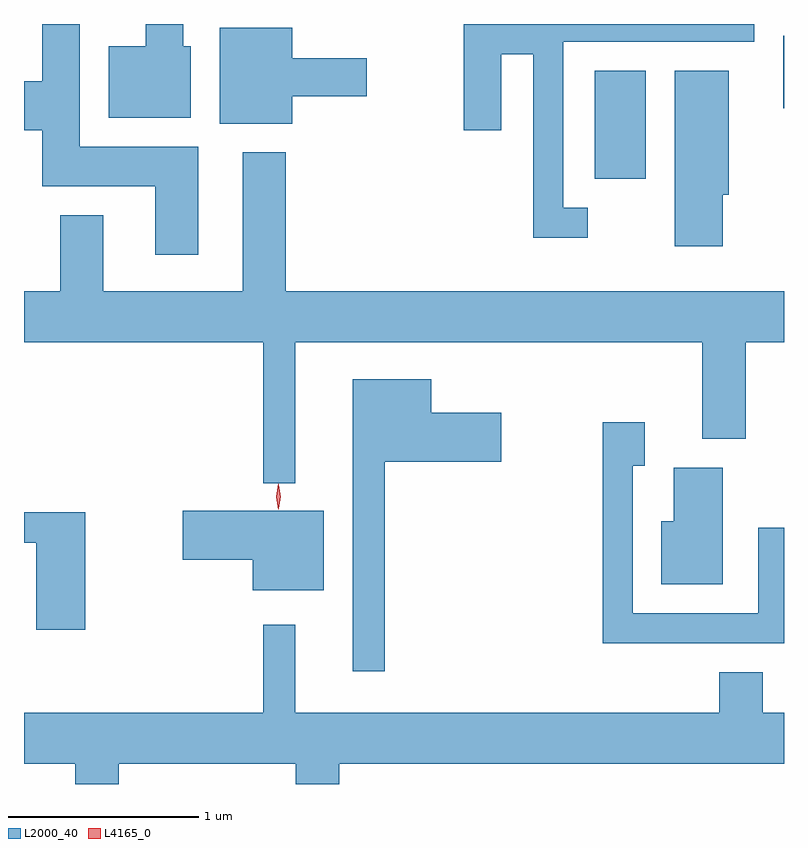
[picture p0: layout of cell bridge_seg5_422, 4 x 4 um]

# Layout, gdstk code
import gdstk
lib = gdstk.Library(unit=1e-6, precision=1e-09)
def R(c, l, rs):  # rectangles x0, y0, x1, y1
    for r in rs: c.add(gdstk.rectangle(r[:2], r[2:], *l))
def P(c, l, *ps):  # polygons
    for p in ps: c.add(gdstk.Polygon(p, *l))
L2000_40 = (2000, 40)
L4165_0 = (4165, 0)

bridge_seg5_422 = lib.new_cell('bridge_seg5_422')
R(bridge_seg5_422, L2000_40, [(310.706,1510.936,310.974,1511.504), (311.696,1511.306,311.701,1511.689)])
P(bridge_seg5_422, L2000_40, [(308.619,1511.104),(307.994,1511.104),(307.994,1511.75),(307.796,1511.75),(307.796,1511.449),(307.701,1511.449),(307.701,1511.191),(307.796,1511.191),(307.796,1510.896),(308.391,1510.896),(308.391,1510.536),(308.619,1510.536)],
  [(310.668,1510.784),(310.539,1510.784),(310.539,1511.656),(311.544,1511.656),(311.544,1511.75),(310.016,1511.75),(310.016,1511.191),(310.214,1511.191),(310.214,1511.591),(310.381,1511.591),(310.381,1510.626),(310.668,1510.626)],
  [(308.579,1511.634),(308.539,1511.634),(308.539,1511.75),(308.341,1511.75),(308.341,1511.634),(308.146,1511.634),(308.146,1511.256),(308.579,1511.256)],
  [(309.114,1511.371),(309.504,1511.371),(309.504,1511.569),(309.114,1511.569),(309.114,1511.729),(308.731,1511.729),(308.731,1511.226),(309.114,1511.226)],
  [(311.379,1510.851),(311.409,1510.851),(311.409,1511.504),(311.126,1511.504),(311.126,1510.581),(311.379,1510.581)],
  [(309.129,1510.076),(311.271,1510.076),(311.271,1509.566),(311.499,1509.566),(311.499,1510.076),(311.701,1510.076),(311.701,1510.344),(309.079,1510.344),(309.079,1511.074),(308.851,1511.074),(308.851,1510.344),(308.119,1510.344),(308.119,1510.744),(307.891,1510.744),(307.891,1510.344),(307.701,1510.344),(307.701,1510.076),(308.961,1510.076),(308.961,1509.333),(309.129,1509.333)],
  [(309.599,1509.446),(310.214,1509.446),(310.214,1509.704),(309.844,1509.704),(309.844,1509.879),(309.431,1509.879),(309.431,1508.343),(309.599,1508.343)],
  [(311.701,1509.098),(311.566,1509.098),(311.566,1508.649),(310.904,1508.649),(310.904,1509.426),(310.969,1509.426),(310.969,1509.654),(310.746,1509.654),(310.746,1508.491),(311.701,1508.491)],
  [(311.379,1509.414),(311.121,1509.414),(311.121,1509.134),(311.056,1509.134),(311.056,1508.801),(311.379,1508.801)],
  [(309.279,1509.189),(308.536,1509.189),(308.536,1508.931),(308.906,1508.931),(308.906,1508.771),(309.279,1508.771)],
  [(308.024,1509.179),(307.701,1509.179),(307.701,1509.021),(307.766,1509.021),(307.766,1508.561),(308.024,1508.561)],
  [(311.361,1508.339),(311.361,1508.124),(309.129,1508.124),(309.129,1508.588),(308.961,1508.588),(308.961,1508.124),(307.701,1508.124),(307.701,1507.856),(307.971,1507.856),(307.971,1507.75),(308.199,1507.75),(308.199,1507.856),(309.131,1507.856),(309.131,1507.75),(309.359,1507.75),(309.359,1507.856),(311.701,1507.856),(311.701,1508.124),(311.589,1508.124),(311.589,1508.339)])
P(bridge_seg5_422, L4165_0, [(309.042,1509.2),(309.042,1509.2),(309.032,1509.263),(309.042,1509.326),(309.042,1509.327),(309.043,1509.326),(309.052,1509.263),(309.043,1509.2)],
  [(309.038,1509.194),(309.038,1509.194),(309.029,1509.262),(309.04,1509.33),(309.04,1509.33),(309.04,1509.33),(309.049,1509.262),(309.039,1509.194)])

lib.write_gds('bridge_seg5_422.gds')
